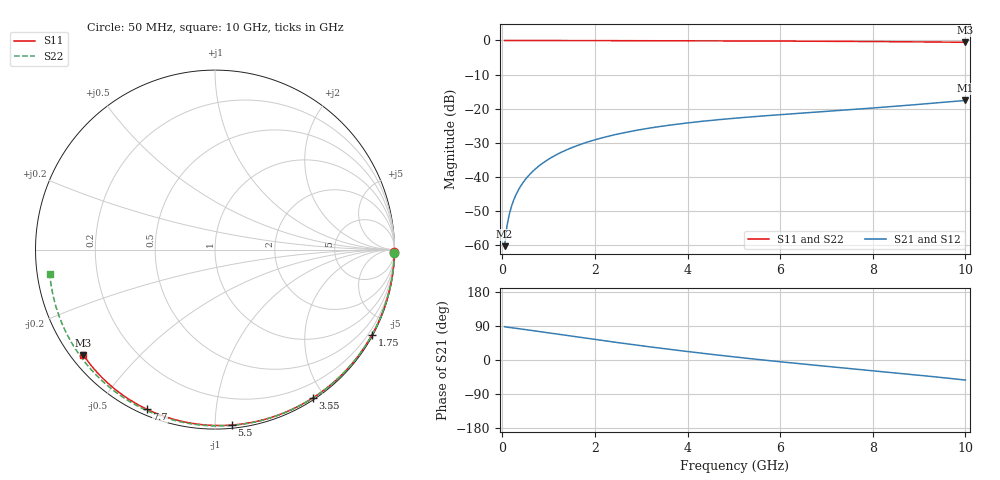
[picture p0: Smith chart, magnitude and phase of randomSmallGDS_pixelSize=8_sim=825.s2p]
! freq	dB(S11)	phase(S11)	dB(S12)	phase(S12)
!  dB(S21)	phase(S21)	dB(S22)	phase(S22)
!S-par simulation data
#  GHz  S  DB  R 50
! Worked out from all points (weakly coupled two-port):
!   200 points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, 50 MHz to 10 GHz, reference 50 ohm
!   highest |S21| = -17.60 dB at 10 GHz (marker M1); lowest = -60.4 dB at 50 MHz (marker M2)
!   lowest |S11| = -0.5 dB at 10 GHz (marker M3), VSWR 32.06, Z = 1.75 - j17.5 ohm
!   |S11| at or under -10 dB: nowhere
!   |S22| runs from -0.6 to 0.0 dB; largest |S21 - S12| = 0
!   S11 on the Smith chart (normalised r, x): 50 MHz: open; 1.75 GHz: 0.04, -3.92; 3.55 GHz: 0.02, -1.86; 5.5 GHz: 0.02, -1.10; 7.7 GHz: 0.02, -0.66; 10 GHz: 0.04, -0.35
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0.05  -0.00 -0.8  -60.39 87.9  -60.39 87.9  -0.00 -1.0
0.1  -0.00 -1.7  -54.50 86.7  -54.50 86.7  -0.00 -2.0
0.15  -0.00 -2.5  -51.07 85.8  -51.07 85.8  -0.00 -3.0
0.2  -0.00 -3.3  -48.63 85.1  -48.63 85.1  -0.00 -4.0
0.25  -0.00 -4.2  -46.72 84.3  -46.72 84.3  -0.00 -5.0
0.35  -0.00 -5.8  -43.84 82.8  -43.84 82.8  -0.01 -7.0
0.5  -0.01 -8.3  -40.78 80.3  -40.78 80.3  -0.01 -9.9
0.7  -0.01 -11.6  -37.89 76.8  -37.89 76.8  -0.02 -13.9
1  -0.02 -16.5  -34.86 71.6  -34.86 71.6  -0.03 -19.8
1.35  -0.03 -22.2  -32.35 65.4  -32.35 65.4  -0.04 -26.5
1.75  -0.04 -28.6  -30.23 58.5  -30.23 58.5  -0.05 -34.2
2.6  -0.06 -42.1  -27.17 44.2  -27.17 44.2  -0.07 -50.2
3.4  -0.08 -54.3  -25.27 31.4  -25.27 31.4  -0.10 -64.7
3.55  -0.09 -56.6  -24.98 29.1  -24.98 29.1  -0.10 -67.3
4.3  -0.11 -67.6  -23.76 18.0  -23.76 18.0  -0.13 -80.3
5.05  -0.14 -78.2  -22.80 7.6  -22.80 7.6  -0.16 -92.9
5.5  -0.16 -84.5  -22.30 1.7  -22.30 1.7  -0.18 -100.2
6.7  -0.22 -100.4  -21.11 -13.1  -21.11 -13.1  -0.26 -119.2
7.7  -0.29 -113.1  -20.14 -24.8  -20.14 -24.8  -0.34 -134.8
8.35  -0.35 -121.2  -19.47 -32.4  -19.47 -32.4  -0.41 -144.9
9.2  -0.44 -131.6  -18.54 -42.7  -18.54 -42.7  -0.51 -158.4
10  -0.54 -141.4  -17.60 -52.9  -17.60 -52.9  -0.63 -171.6
